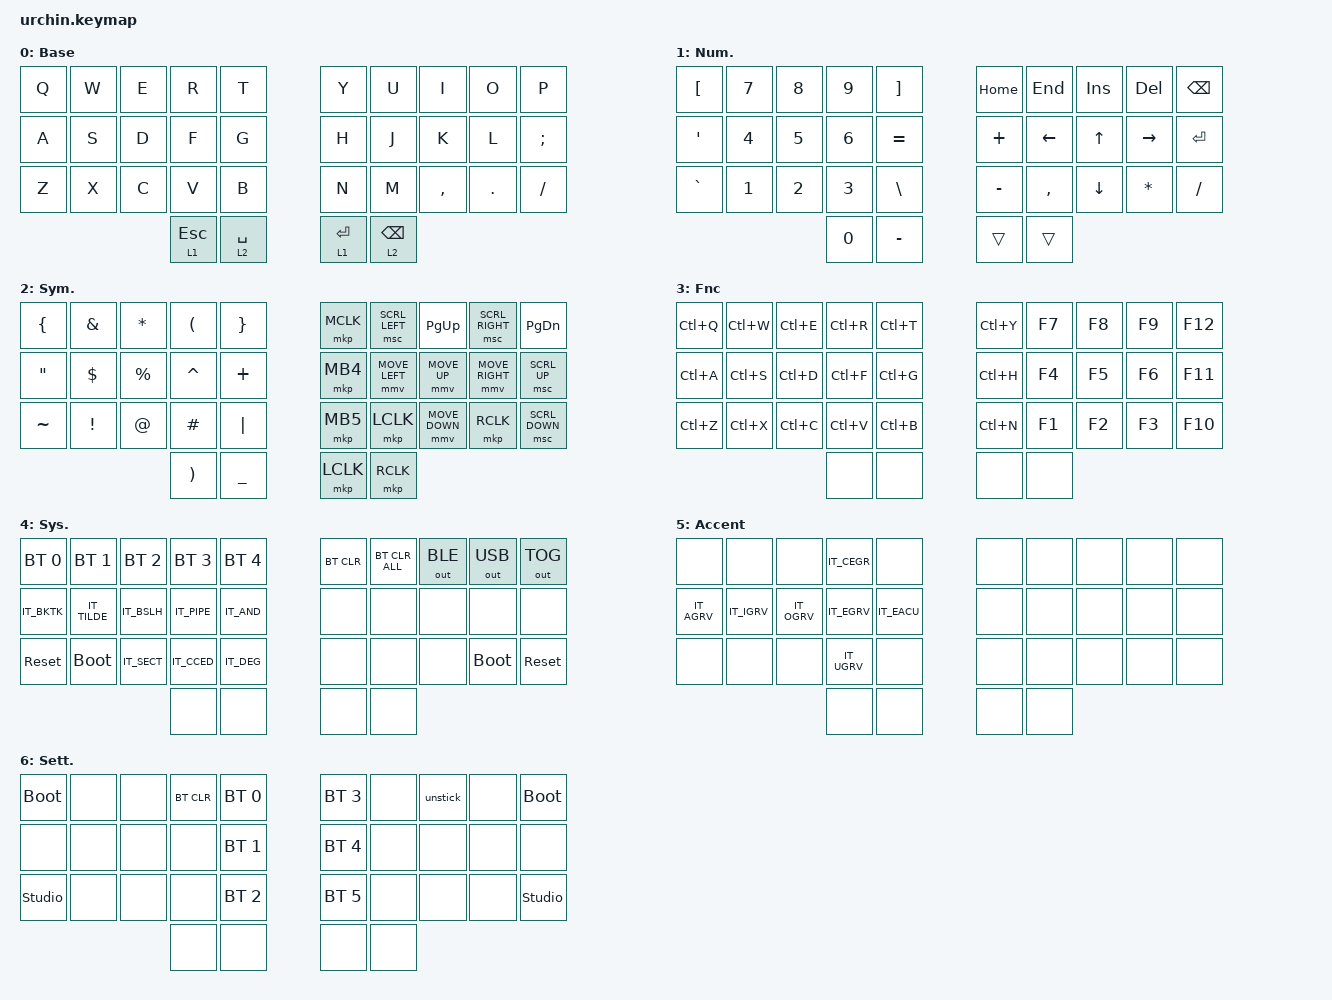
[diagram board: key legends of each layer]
/*
 * Copyright (c) 2020 duckyb
 *
 * SPDX-License-Identifier: MIT
 */

#include <behaviors.dtsi>
#include <dt-bindings/zmk/bt.h>
#include <dt-bindings/zmk/keys.h>
#include <dt-bindings/zmk/outputs.h>
#include <dt-bindings/zmk/pointing.h>
#include "keymap_italian.h"

// Layer definitions

#define BASE 0
#define SYM 1
#define EXT 2
#define FNC 3
#define SYM2 4
#define ACCENT 5
#define SETTINGS 6

// -----------------

&sk {
    // don't release mods on other mods presses

    ignore-modifiers;
};

&lt { quick-tap-ms = <180>; };

&mt {
    quick-tap-ms = <150>;
    flavor = "tap-preferred";
};

/ {
    behaviors {
        // Enables holding the first mod-tap key
        // by performing a tap-release-hold sequence.
        // To use it: "&qt KEYCODE1 KEYCODE2"

        qt: quick_tap {
            compatible = "zmk,behavior-hold-tap";
            label = "QUICK_TAP";
            #binding-cells = <2>;
            flavor = "hold-preferred";
            tapping-term-ms = <200>;
            quick-tap-ms = <200>;
            bindings = <&kp>, <&kp>;
        };
    };

    macros {
        // sometimes my device thinks a modifier is being held down
        // pressing all modifiers fixes it.

        unstick: unstick {
            label = "ZM_unstick";
            compatible = "zmk,behavior-macro";
            #binding-cells = <0>;
            bindings = <&kp LSHIFT &kp RSHIFT &kp LCTRL &kp RCTRL &kp LALT &kp RALT &kp LGUI &kp RGUI>;
        };
    };

    combos {
        compatible = "zmk,combos";

        // both right thumb keys
        // internal-left & external-right thumb keys
        // both left thumb keys
        // left index & middle fingers (home-row)
        // hold control & space for Adobe workflow

        combo_fnc {
            bindings = <&mo 3>;
            key-positions = <30 31>;
            timeout-ms = <50>;
            require-prior-idle-ms = <100>;
            layers = <0>;
        };

        combo_sys {
            bindings = <&mo 4>;
            key-positions = <32 33>;
            timeout-ms = <50>;
            require-prior-idle-ms = <100>;
            layers = <0>;
        };

        combo_lshft {
            bindings = <&kp LSHFT>;
            key-positions = <13 12>;
            timeout-ms = <50>;
            require-prior-idle-ms = <100>;
            layers = <0 2 1 3>;
            slow-release;
        };

        combo_lctrl {
            bindings = <&kp LCTRL>;
            key-positions = <12 11>;
            timeout-ms = <50>;
            require-prior-idle-ms = <100>;
            layers = <0 2 1 3>;
            slow-release;
        };

        combo_lalt {
            bindings = <&kp LALT>;
            key-positions = <11 10>;
            timeout-ms = <50>;
            require-prior-idle-ms = <100>;
            layers = <0 2 1 3>;
            slow-release;
        };

        combo_lgui {
            bindings = <&kp LWIN>;
            key-positions = <13 14>;
            timeout-ms = <50>;
            require-prior-idle-ms = <100>;
            layers = <0 2 1 3>;
            slow-release;
        };

        combo_rwin {
            bindings = <&kp LWIN>;
            key-positions = <15 16>;
            timeout-ms = <50>;
            require-prior-idle-ms = <100>;
            layers = <0 2 1 3>;
            slow-release;
        };

        combo_rshft {
            bindings = <&kp LSHFT>;
            key-positions = <17 16>;
            timeout-ms = <50>;
            require-prior-idle-ms = <100>;
            layers = <0 2 1 3>;
            slow-release;
        };

        combo_rctrl {
            bindings = <&kp LCTRL>;
            key-positions = <18 17>;
            timeout-ms = <50>;
            require-prior-idle-ms = <100>;
            layers = <0 2 1 3>;
            slow-release;
        };

        combo_ralt {
            bindings = <&kp LALT>;
            key-positions = <19 18>;
            timeout-ms = <50>;
            require-prior-idle-ms = <100>;
            layers = <0 2 1 3>;
            slow-release;
        };

        combo_lshft_lctrl {
            bindings = <&kp LC(LSHFT)>;
            key-positions = <13 12 11>;
            timeout-ms = <50>;
            require-prior-idle-ms = <100>;
            layers = <0 2 1 3>;
            slow-release;
        };

        combo_lshft_lalt {
            bindings = <&kp LA(LSHFT)>;
            key-positions = <13 12 10>;
            timeout-ms = <50>;
            require-prior-idle-ms = <100>;
            layers = <0 2 1 3>;
            slow-release;
        };

        combo_lctrl_lalt {
            bindings = <&kp LA(LCTRL)>;
            key-positions = <12 11 10>;
            timeout-ms = <50>;
            require-prior-idle-ms = <100>;
            layers = <0 2 1 3>;
            slow-release;
        };

        combo_lctrl_lwin {
            bindings = <&kp LC(LWIN)>;
            key-positions = <13 10 11 12>;
            timeout-ms = <50>;
            require-prior-idle-ms = <100>;
            layers = <0 2 1 3>;
            slow-release;
        };

        combo_rshft_rctrl {
            bindings = <&kp LC(LSHFT)>;
            key-positions = <16 17 18>;
            timeout-ms = <50>;
            require-prior-idle-ms = <100>;
            layers = <0 2 1 3>;
            slow-release;
        };

        combo_rshft_ralt {
            bindings = <&kp LA(LSHFT)>;
            key-positions = <16 17 19>;
            timeout-ms = <50>;
            require-prior-idle-ms = <100>;
            layers = <0 2 1 3>;
            slow-release;
        };

        combo_rctrl_ralt {
            bindings = <&kp LA(LCTRL)>;
            key-positions = <19 18 17>;
            timeout-ms = <50>;
            require-prior-idle-ms = <100>;
            layers = <0 2 1 3>;
            slow-release;
        };

        combo_rctrl_rwin {
            bindings = <&kp LC(LWIN)>;
            key-positions = <19 18 17 16>;
            timeout-ms = <50>;
            require-prior-idle-ms = <100>;
            layers = <0 2 1 3>;
            slow-release;
        };

        combo_undo {
            bindings = <&kp LC(Z)>;
            key-positions = <20 21>;
            timeout-ms = <50>;
            require-prior-idle-ms = <100>;
            layers = <0 2 1 3>;
            slow-release;
        };

        combo_copy {
            bindings = <&kp LC(C)>;
            key-positions = <21 22>;
            timeout-ms = <50>;
            require-prior-idle-ms = <100>;
            layers = <0 2 1 3>;
            slow-release;
        };

        combo_paste {
            bindings = <&kp LC(V)>;
            key-positions = <22 23>;
            timeout-ms = <50>;
            require-prior-idle-ms = <100>;
            layers = <0 2 1 3>;
            slow-release;
        };

        combo_cut {
            bindings = <&kp LC(X)>;
            key-positions = <23 21>;
            timeout-ms = <50>;
            require-prior-idle-ms = <100>;
            layers = <0 2 1 3>;
            slow-release;
        };

        combo_redo {
            bindings = <&kp LC(Y)>;
            key-positions = <23 24>;
            timeout-ms = <50>;
            require-prior-idle-ms = <100>;
            layers = <0 2 1 3>;
            slow-release;
        };

        combo_lang {
            bindings = <&kp RALT>;
            key-positions = <16 18>;
            timeout-ms = <50>;
            require-prior-idle-ms = <100>;
            layers = <0 2 1 3>;
            slow-release;
        };

        combo_hanja {
            bindings = <&kp RCTRL>;
            key-positions = <19 17>;
            timeout-ms = <50>;
            require-prior-idle-ms = <100>;
            layers = <0 2 1 3>;
            slow-release;
        };

        combo_prev {
            bindings = <&mkp MB4>;
            key-positions = <16 26>;
            timeout-ms = <50>;
            require-prior-idle-ms = <100>;
            layers = <0 2 1 3>;
            slow-release;
        };

        combo_next {
            bindings = <&mkp MB5>;
            key-positions = <17 27>;
            timeout-ms = <50>;
            require-prior-idle-ms = <100>;
            layers = <0 2 1 3>;
            slow-release;
        };

        combo_plus {
            bindings = <&kp PLUS>;
            key-positions = <4 14>;
            timeout-ms = <50>;
            require-prior-idle-ms = <100>;
            layers = <1>;
            slow-release;
        };

        combo_minus {
            bindings = <&kp MINUS>;
            key-positions = <3 13>;
            timeout-ms = <50>;
            require-prior-idle-ms = <100>;
            layers = <1>;
            slow-release;
        };

        combo_multiply {
            bindings = <&kp ASTRK>;
            key-positions = <12 2>;
            timeout-ms = <50>;
            require-prior-idle-ms = <100>;
            layers = <1>;
            slow-release;
        };

        combo_divide {
            bindings = <&kp SLASH>;
            key-positions = <1 11>;
            timeout-ms = <50>;
            require-prior-idle-ms = <100>;
            layers = <1>;
            slow-release;
        };

        combo_enter {
            bindings = <&kp ENTER>;
            key-positions = <14 24>;
            timeout-ms = <50>;
            require-prior-idle-ms = <100>;
            layers = <1>;
            slow-release;
        };

        combo_dot {
            bindings = <&kp DOT>;
            key-positions = <23 13>;
            timeout-ms = <50>;
            require-prior-idle-ms = <100>;
            layers = <1>;
            slow-release;
        };

        combo_comma {
            bindings = <&kp COMMA>;
            key-positions = <12 22>;
            timeout-ms = <50>;
            require-prior-idle-ms = <100>;
            layers = <1>;
            slow-release;
        };

        combo_tab {
            bindings = <&kp TAB>;
            key-positions = <1 0>;
            timeout-ms = <50>;
            slow-release;
            require-prior-idle-ms = <100>;
            layers = <0 2 1 3>;
        };

        combo_caps {
            bindings = <&kp CAPS>;
            key-positions = <13 11>;
            timeout-ms = <50>;
            slow-release;
            require-prior-idle-ms = <100>;
            layers = <0 2 1 3>;
        };
    };

    keymap {
        compatible = "zmk,keymap";

        // Base alpha layer

        default_layer {
            label = "Base";
            bindings = <
&kp Q  &kp W  &kp E  &kp R      &kp T        &kp Y        &kp U       &kp I      &kp O    &kp P
&kp A  &kp S  &kp D  &kp F      &kp G        &kp H        &kp J       &kp K      &kp L    &kp SEMI
&kp Z  &kp X  &kp C  &kp V      &kp B        &kp N        &kp M       &kp COMMA  &kp DOT  &kp SLASH
                     &lt 1 ESC  &lt 2 SPACE  &lt 1 ENTER  &lt 2 BSPC
            >;
        };

        // Numbers and high frequency symbols

        num_layer {
            label = "Num.";
            bindings = <
&kp LBKT   &kp N7  &kp N8  &kp N9  &kp RBKT   &kp HOME   &kp END    &kp INS   &kp DEL    &kp BSPC
&kp SQT    &kp N4  &kp N5  &kp N6  &kp EQUAL  &kp PLUS   &kp LEFT   &kp UP    &kp RIGHT  &kp ENTER
&kp GRAVE  &kp N1  &kp N2  &kp N3  &kp BSLH   &kp MINUS  &kp COMMA  &kp DOWN  &kp ASTRK  &kp SLASH
                           &kp N0  &kp MINUS  &trans     &trans
            >;
        };

        // Main modifiers and arrow keys

        sym_layer {
            label = "Sym.";
            bindings = <
&kp LBRC   &kp AMPS  &kp ASTRK  &kp LPAR   &kp RBRC   &mkp MCLK  &msc SCRL_LEFT  &kp PG_UP       &msc SCRL_RIGHT  &kp PG_DN
&kp DQT    &kp DLLR  &kp PRCNT  &kp CARET  &kp PLUS   &mkp MB4   &mmv MOVE_LEFT  &mmv MOVE_UP    &mmv MOVE_RIGHT  &msc SCRL_UP
&kp TILDE  &kp EXCL  &kp AT     &kp HASH   &kp PIPE   &mkp MB5   &mkp LCLK       &mmv MOVE_DOWN  &mkp RCLK        &msc SCRL_DOWN
                                &kp RPAR   &kp UNDER  &mkp LCLK  &mkp RCLK
            >;
        };

        // Function keys with modifiers

        fnc_layer {
            label = "Fnc";
            bindings = <
&kp LC(Q)  &kp LC(W)  &kp LC(E)  &kp LC(R)  &kp LC(T)  &kp LC(Y)  &kp F7  &kp F8  &kp F9  &kp F12
&kp LC(A)  &kp LC(S)  &kp LC(D)  &kp LC(F)  &kp LC(G)  &kp LC(H)  &kp F4  &kp F5  &kp F6  &kp F11
&kp LC(Z)  &kp LC(X)  &kp LC(C)  &kp LC(V)  &kp LC(B)  &kp LC(N)  &kp F1  &kp F2  &kp F3  &kp F10
                                 &none      &none      &none      &none
            >;
        };

        // Low frequency symbols.

        sys_layer {
            label = "Sys.";
            bindings = <
&bt BT_SEL 0  &bt BT_SEL 1  &bt BT_SEL 2  &bt BT_SEL 3  &bt BT_SEL 4  &bt BT_CLR  &bt BT_CLR_ALL  &out OUT_BLE  &out OUT_USB  &out OUT_TOG
&kp IT_BKTK   &kp IT_TILDE  &kp IT_BSLH   &kp IT_PIPE   &kp IT_AND    &none       &none           &none         &none         &none
&sys_reset    &bootloader   &kp IT_SECT   &kp IT_CCED   &kp IT_DEG    &none       &none           &none         &bootloader   &sys_reset
                                          &none         &none         &none       &none
            >;
        };

        // Used to type regional accents.

        accent_layer {
            label = "Accent";
            bindings = <
&none        &none        &none        &kp IT_CEGR  &none        &none  &none  &none  &none  &none
&kp IT_AGRV  &kp IT_IGRV  &kp IT_OGRV  &kp IT_EGRV  &kp IT_EACU  &none  &none  &none  &none  &none
&none        &none        &none        &kp IT_UGRV  &none        &none  &none  &none  &none  &none
                                       &none        &none        &none  &none
            >;
        };

        // Used to change the keyboard's settings.

        settings_layer {
            label = "Sett.";
            bindings = <
&bootloader     &none  &none  &bt BT_CLR  &bt BT_SEL 0  &bt BT_SEL 3  &none  &unstick  &none  &bootloader
&none           &none  &none  &none       &bt BT_SEL 1  &bt BT_SEL 4  &none  &none     &none  &none
&studio_unlock  &none  &none  &none       &bt BT_SEL 2  &bt BT_SEL 5  &none  &none     &none  &studio_unlock
                              &none       &none         &none         &none
            >;
        };
    };
};
